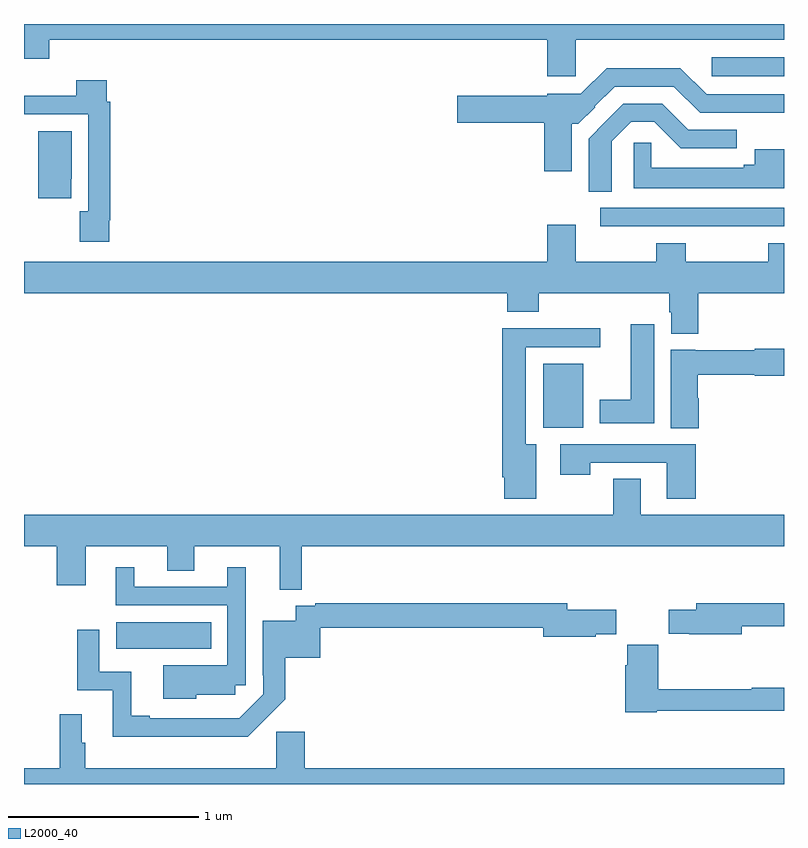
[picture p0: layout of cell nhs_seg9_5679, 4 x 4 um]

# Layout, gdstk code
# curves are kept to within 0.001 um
import gdstk
lib = gdstk.Library(unit=1e-6, precision=1e-09)
def R(c, l, rs):  # rectangles x0, y0, x1, y1
    for r in rs: c.add(gdstk.rectangle(r[:2], r[2:], *l))
def P(c, l, *ps):  # polygons
    for p in ps: c.add(gdstk.Polygon(p, *l))
L2000_40 = (2000, 40)

nhs_seg9_5679 = lib.new_cell('nhs_seg9_5679')
R(nhs_seg9_5679, L2000_40, [(441.486,1197.212,441.986,1197.352), (443.732,1198.376,443.944,1198.711)])
P(nhs_seg9_5679, L2000_40, [(443.903,1200.416),(445,1200.416),(445,1200.5),(441,1200.5),(441,1200.317),(441.134,1200.317),(441.134,1200.416),(443.753,1200.416),(443.753,1200.225),(443.903,1200.225)],
  [(445,1200.325),(444.621,1200.325),(444.621,1200.225),(444.733,1200.225),(444.733,1200.224),(445,1200.224)],
  [(443.884,1199.976),(443.918,1199.976),(444.006,1200.063),(444.003,1200.066),(444.108,1200.171),(444.42,1200.171),(444.558,1200.033),(445,1200.032),(445,1200.129),(444.594,1200.129),(444.455,1200.268),(444.067,1200.268),(443.931,1200.132),(443.754,1200.132),(443.754,1200.123),(443.28,1200.123),(443.28,1199.981),(443.738,1199.981),(443.738,1199.724),(443.884,1199.724)],
  [(441.448,1199.467),(441.455,1199.467),(441.455,1200.092),(441.436,1200.092),(441.436,1200.205),(441.275,1200.205),(441.275,1200.122),(441,1200.122),(441,1200.024),(441.339,1200.024),(441.339,1199.515),(441.293,1199.515),(441.293,1199.355),(441.448,1199.355)],
  [(444.094,1199.884),(444.195,1199.985),(444.318,1199.985),(444.456,1199.847),(444.751,1199.847),(444.751,1199.943),(444.496,1199.943),(444.358,1200.081),(444.155,1200.081),(443.972,1199.897),(443.972,1199.617),(444.094,1199.617)],
  [(441.249,1199.686),(441.25,1199.686),(441.25,1199.935),(441.074,1199.935),(441.074,1199.583),(441.249,1199.583)],
  [(445,1199.842),(444.845,1199.842),(444.845,1199.758),(444.789,1199.758),(444.789,1199.743),(444.302,1199.743),(444.302,1199.875),(444.208,1199.875),(444.208,1199.636),(445,1199.636)],
  [(444.827,1199.436),(445,1199.436),(445,1199.532),(444.033,1199.532),(444.033,1199.436),(444.571,1199.436),(444.571,1199.435),(444.827,1199.435)],
  [(444.548,1199.084),(445,1199.084),(445,1199.347),(444.916,1199.347),(444.916,1199.248),(444.483,1199.248),(444.483,1199.347),(444.328,1199.347),(444.328,1199.248),(443.905,1199.248),(443.905,1199.443),(443.753,1199.443),(443.753,1199.248),(441,1199.248),(441,1199.084),(443.543,1199.084),(443.543,1198.985),(443.708,1198.985),(443.708,1199.084),(444.395,1199.084),(444.395,1198.983),(444.407,1198.983),(444.407,1198.871),(444.548,1198.871)],
  [(444.316,1198.921),(444.194,1198.921),(444.194,1198.522),(444.029,1198.522),(444.029,1198.4),(444.316,1198.4)],
  [(443.695,1198.288),(443.641,1198.288),(443.641,1198.8),(444.034,1198.8),(444.034,1198.898),(443.516,1198.898),(443.516,1198.114),(443.528,1198.114),(443.528,1198.002),(443.695,1198.002)],
  [(444.551,1198.529),(444.546,1198.529),(444.546,1198.654),(444.846,1198.654),(444.846,1198.649),(445,1198.649),(445,1198.791),(444.846,1198.791),(444.846,1198.783),(444.534,1198.783),(444.534,1198.786),(444.404,1198.786),(444.404,1198.372),(444.551,1198.372)],
  [(444.536,1198.287),(443.823,1198.287),(443.823,1198.128),(443.979,1198.128),(443.979,1198.191),(444.383,1198.191),(444.383,1198.002),(444.536,1198.002)],
  [(441,1197.752),(441.173,1197.752),(441.173,1197.546),(441.325,1197.546),(441.325,1197.752),(441.755,1197.752),(441.755,1197.622),(441.895,1197.622),(441.895,1197.752),(442.346,1197.752),(442.346,1197.523),(442.463,1197.523),(442.463,1197.752),(445,1197.752),(445,1197.916),(444.247,1197.916),(444.247,1198.106),(444.1,1198.106),(444.1,1197.916),(441,1197.916)],
  [(441.906,1196.969),(442.113,1196.969),(442.113,1197.021),(442.167,1197.021),(442.167,1197.64),(442.07,1197.64),(442.07,1197.537),(441.58,1197.537),(441.58,1197.64),(441.482,1197.64),(441.482,1197.441),(442.071,1197.441),(442.071,1197.124),(441.734,1197.124),(441.734,1196.948),(441.906,1196.948)],
  [(442.376,1196.945),(442.376,1197.164),(442.559,1197.164),(442.559,1197.322),(443.732,1197.322),(443.732,1197.275),(444.008,1197.275),(444.008,1197.287),(444.116,1197.287),(444.116,1197.417),(443.86,1197.417),(443.86,1197.451),(442.534,1197.451),(442.534,1197.438),(442.43,1197.438),(442.43,1197.358),(442.257,1197.358),(442.257,1197.073),(442.26,1197.073),(442.26,1196.973),(442.132,1196.845),(442.031,1196.845),(442.031,1196.847),(441.661,1196.847),(441.661,1196.86),(441.565,1196.86),(441.565,1197.09),(441.396,1197.09),(441.396,1197.313),(441.28,1197.313),(441.28,1196.994),(441.467,1196.994),(441.467,1196.75),(441.979,1196.75),(441.979,1196.748),(442.178,1196.748)],
  [(444.778,1197.33),(445,1197.33),(445,1197.451),(444.539,1197.451),(444.539,1197.417),(444.394,1197.417),(444.394,1197.291),(444.502,1197.291),(444.502,1197.287),(444.778,1197.287)],
  [(444.33,1196.886),(445,1196.886),(445,1197.007),(444.83,1197.007),(444.83,1196.999),(444.338,1196.999),(444.338,1197.233),(444.176,1197.233),(444.176,1197.125),(444.164,1197.125),(444.164,1196.878),(444.33,1196.878)],
  [(445,1196.584),(442.478,1196.584),(442.478,1196.775),(442.327,1196.775),(442.327,1196.584),(441.323,1196.584),(441.323,1196.717),(441.304,1196.717),(441.304,1196.866),(441.187,1196.866),(441.187,1196.584),(441,1196.584),(441,1196.5),(445,1196.5)])

lib.write_gds('nhs_seg9_5679.gds')
